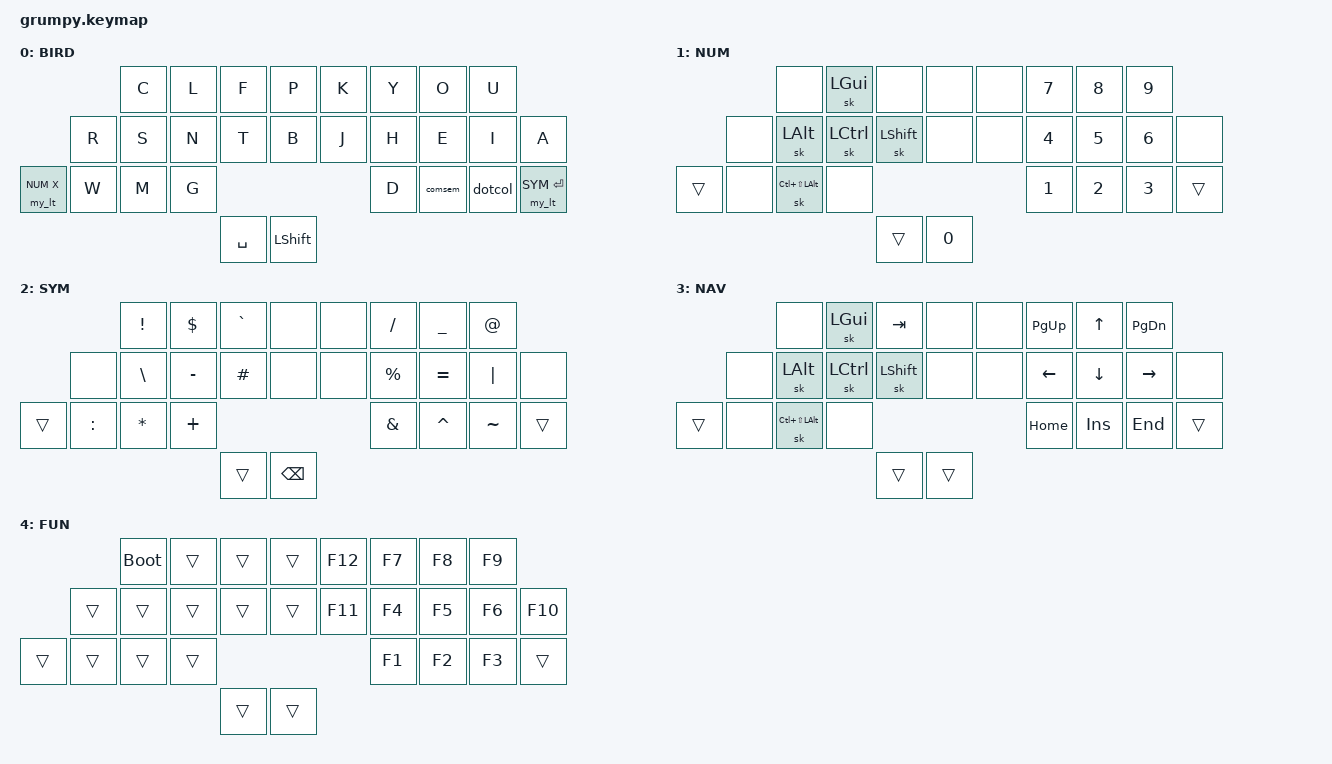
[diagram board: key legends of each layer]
#include <behaviors.dtsi>
#include <dt-bindings/zmk/keys.h>
#include <dt-bindings/zmk/bt.h>
#include <dt-bindings/zmk/outputs.h>

#define BIRD 0
#define NUM 1
#define SYM 2
#define NAV 3
#define FUN 4

// &lt {
//     quick_tap_ms = <170>;
// };

&caps_word {
    continue-list = <UNDERSCORE MINUS BSPC LSHFT RSHFT>;
};

/ {
    macros {
        macro_qu: macro_qu {
            label = "Macro_qu";
            compatible = "zmk,behavior-macro";
            #binding-cells = <0>;
            bindings = <
                &macro_tap &kp Q
                &macro_release &kp LSHIFT
                &macro_tap &kp U
            >;
        };
    };
};


/ {
    conditional_layers {
        compatible = "zmk,conditional-layers";
        tri_layer {
            if-layers = <1 2>;
            then-layer = <4>;
        };
    };
    
};

#define COMBO(NAME, BINDINGS, KEYPOS) \
combo_##NAME { \
    timeout-ms = <20>; \
    bindings = <BINDINGS>; \
    key-positions = <KEYPOS>; \
};

/ {
    combos {
        compatible = "zmk,combos";
/* nav layer combo */
        COMBO(nav, &mo NAV, 18 26)
/* usually on base layer */
        COMBO(z, &kp Z, 19 20)
        COMBO(v, &kp V, 0 1)
        COMBO(smart_qu, &smart_qu macro_qu Q, 1 2)
        COMBO(slash, &kp SLASH, 23 24)
        COMBO(enter, &kp ENTER, 22 24)
        COMBO(esc, &kp ESC, 19 10 21)
        COMBO(tab, &kp TAB, 19 21)
/* parentheticals */
        COMBO(lbrc, &kp LBRC, 0 9)
        COMBO(lbkt, &kp LBKT, 1 10)
        COMBO(lpar, &kp LPAR, 2 11)
        COMBO(lt, &kp LT, 3 12)
        COMBO(gt, &kp GT, 4 13)
        COMBO(rpar, &kp RPAR, 5 14)
        COMBO(rbkt, &kp RBKT, 6 15)
        COMBO(rbrc, &kp RBRC, 7 16)
/* caps */
        COMBO(capslock, &kp CAPSLOCK, 0 7)
/* deletion */
        COMBO(del, &kp DEL, 6 7)
        COMBO(delword, &kp LC(BSPC), 5 7)
    };
};


/ {

    behaviors {
        my_lt: my_layer_taps {
            compatible = "zmk,behavior-hold-tap";
            label = "my layer taps";
            #binding-cells = <2>;
            // flavor = "tap-preferred";
            flavor = "balanced";
            tapping-term-ms = <150>;
            quick-tap-ms = <100>;
            // global-quick-tap;
            bindings = <&mo &kp>, <&kp>;
            // non-thumb keys
            // hold-trigger-key-positions = <0 1 2 3 4 5 6 7 8 9 10 11 12 13 14 15 16 17 18 19 20 21 22 23 24 25>;
        };

        smart_qu: smart_qu_hold_tap {
            compatible = "zmk,behavior-hold-tap";
            #binding-cells = <2>;
            flavor = "tap-preferred";
            tapping-term-ms = <150>;
            quick-tap-ms = <200>;
            bindings = <&kp>, <&kp>;
        };
//   ____________________________  ____________________________
//  /       0  |  1  |  2  |  3  \/   4 |   5 |   6 |   7      \
// |  8  |  9  | 10  | 11  | 12  /\  13 |  14 |  15 |  16 | 17  |
// | 18  | 19  | 20  | 21       /  \       22 |  23 |  24 | 25  |
//                      \  26  /    \  27  /
//                       ------      ------


        dotcol: dot_colon {
            compatible = "zmk,behavior-mod-morph";
            label = "DOT_COL";
            #binding-cells = <0>;
            bindings = <&kp DOT>, <&kp COLON>;
            mods = <(MOD_LSFT|MOD_RSFT)>;
        };
        comsem: comma_semicolon {
            compatible = "zmk,behavior-mod-morph";
            label = "COM_SEM";
            #binding-cells = <0>;
            bindings = <&kp COMMA>, <&kp SEMI>;
            mods = <(MOD_LSFT|MOD_RSFT)>;
        };
    };
};


//   ____________________________  ____________________________
//  /       0  |  1  |  2  |  3  \/   4 |   5 |   6 |   7      \
// |  8  |  9  | 10  | 11  | 12  /\  13 |  14 |  15 |  16 | 17  |
// | 19  | 19  | 20  | 21       /  \       22 |  23 |  24 | 25  |
//                      \  26  /    \  27  /
//                       ------      ------

/ {

    keymap {
        compatible = "zmk,keymap";

        bird {
            label = "BIRD";

            bindings = <
                        &kp C   &kp L   &kp F   &kp P      &kp K   &kp Y   &kp O   &kp U
                &kp R   &kp S   &kp N   &kp T   &kp B      &kp J   &kp H   &kp E   &kp I   &kp A
           &my_lt NUM X &kp W   &kp M   &kp G                      &kp D   &comsem &dotcol &my_lt SYM ENTER
                                          &kp SPACE &kp LSHIFT
            >;
        };
        numbers {
            label = "NUM";

            bindings = <
                        &none      &sk LGUI    &none       &none      &none   &kp N7   &kp N8   &kp N9
                &none   &sk LALT   &sk LCTRL   &sk LSHFT   &none      &none   &kp N4   &kp N5   &kp N6   &none
                &trans  &none &sk LC(LS(LALT)) &none                          &kp N1   &kp N2   &kp N3   &trans
                                                          &trans      &kp N0
            >;
        };
        symbols {
            label = "SYM";

            bindings = <
                        &kp EXCL   &kp DLLR    &kp GRAVE   &none      &none   &kp FSLH    &kp UNDER   &kp AT
                &none   &kp BSLH   &kp MINUS   &kp HASH    &none      &none   &kp PRCNT   &kp EQUAL   &kp PIPE   &none
                &trans  &kp COLON  &kp STAR    &kp PLUS                       &kp AMPS    &kp CARET   &kp TILDE  &trans
                                                        &trans       &kp BSPC
            >;
        };
        navigation {
            label = "NAV";

            bindings = <
                        &none     &sk LGUI     &kp TAB     &none      &none   &kp PG_UP   &kp UP     &kp PG_DN
                &none   &sk LALT  &sk LCTRL    &sk LSHFT   &none      &none   &kp LEFT    &kp DOWN   &kp RIGHT   &none
                &trans  &none &sk LC(LS(LALT)) &none                          &kp HOME    &kp INS    &kp END     &trans
                                                       &trans         &trans
            >;
        };
        function {
            label = "FUN";

            bindings = <
                               &bootloader    &trans         &trans         &trans         &kp F12        &kp F7         &kp F8         &kp F9
                &trans         &trans         &trans         &trans         &trans         &kp F11        &kp F4         &kp F5         &kp F6         &kp F10
                &trans         &trans         &trans         &trans                                       &kp F1         &kp F2         &kp F3         &trans
                                                                            &trans         &trans
            >;
        };

    };
};
